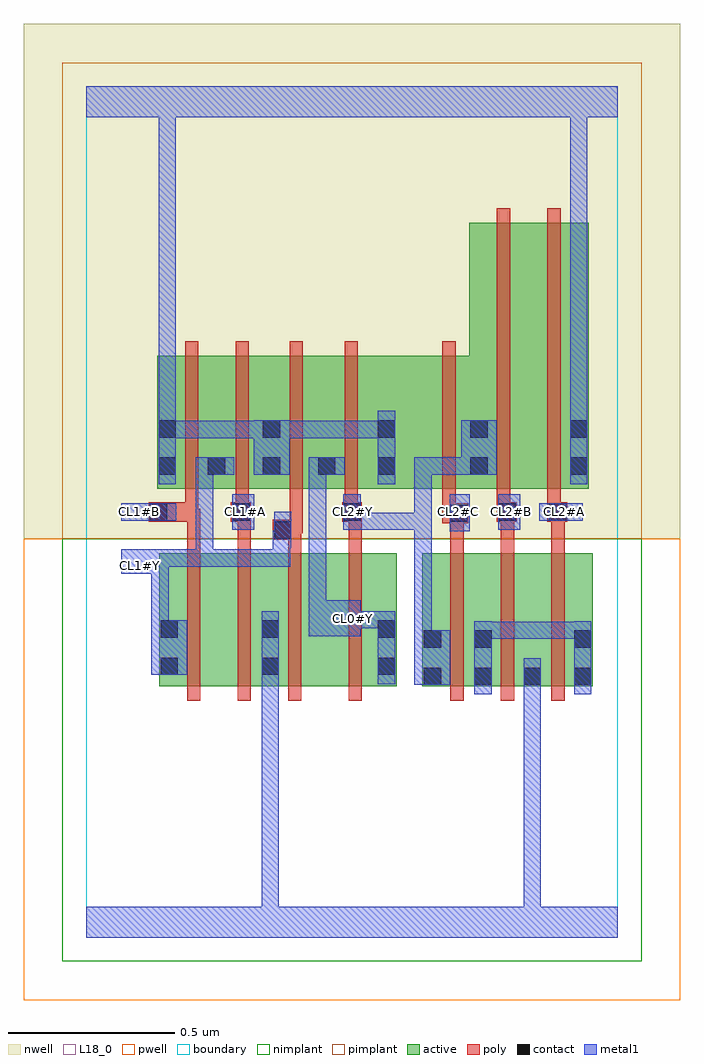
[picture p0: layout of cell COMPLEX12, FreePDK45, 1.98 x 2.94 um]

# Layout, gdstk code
import gdstk
lib = gdstk.Library(unit=1e-6, precision=1e-09)
def R(c, l, rs):  # rectangles x0, y0, x1, y1
    for r in rs: c.add(gdstk.rectangle(r[:2], r[2:], *l))
def A(c, l, x, y, w, h, nx, ny, dx, dy):  # array of equal rectangles
    R(c, l, [(x+i*dx, y+j*dy, x+i*dx+w, y+j*dy+h) for i in range(nx) for j in range(ny)])
active = (1, 0)
pwell = (2, 0)
nwell = (3, 0)
nimplant = (4, 0)
pimplant = (5, 0)
poly = (9, 0)
contact = (10, 0)
metal1 = (11, 0)
L18_0 = (18, 0)
boundary = (235, 0)

complex12 = lib.new_cell('COMPLEX12')
A(complex12, active, 0.362, 1.35, 0.06, 0.294, 3, 1, 0.166, 0)
R(complex12, active, [(0.22,0.756,0.28,1.156), (0.22,0.756,0.4,1.156), (0.4,0.756,0.584,1.156), (0.524,0.756,0.584,1.156), (0.524,0.756,0.704,1.156), (0.704,0.756,0.934,1.156), (0.874,0.756,0.934,1.156), (1.012,0.756,1.072,1.156), (1.012,0.756,1.224,1.156), (1.164,0.756,1.224,1.156), (1.164,0.756,1.372,1.156), (1.312,0.756,1.372,1.156), (1.312,0.756,1.524,1.156), (1.464,0.756,1.524,1.156), (0.214,1.35,0.422,1.75), (0.214,1.35,0.274,1.644), (0.362,1.35,0.588,1.75), (0.528,1.35,0.754,1.75), (0.694,1.35,0.934,1.75), (0.874,1.35,1.212,1.75), (0.874,1.35,0.934,1.644), (1.152,1.35,1.332,2.15), (1.152,1.35,1.212,1.858), (1.332,1.35,1.512,2.15), (1.452,1.35,1.512,2.044)])
R(complex12, pwell, [(-0.188,-0.188,1.788,1.2)])
R(complex12, nwell, [(-0.188,1.2,1.788,2.748)])
R(complex12, nimplant, [(-0.072,-0.072,1.672,1.2)])
R(complex12, pimplant, [(-0.072,1.2,1.672,2.632)])
A(complex12, poly, 0.304, 0.712, 0.04, 0.488, 3, 1, 0.152, 0)
A(complex12, poly, 1.096, 0.712, 0.04, 0.488, 3, 1, 0.152, 0)
R(complex12, poly, [(0.79,0.712,0.83,1.2), (0.304,1.16,0.344,1.29), (0.456,1.16,0.496,1.29), (0.608,1.16,0.648,1.236), (0.79,1.16,0.83,1.29), (1.096,1.16,1.136,1.286), (1.248,1.16,1.288,1.29), (1.4,1.16,1.44,1.29), (0.562,1.196,0.648,1.256), (0.608,1.216,0.648,1.256), (0.608,1.216,0.652,1.256), (0.612,1.216,0.652,1.346), (1.072,1.246,1.15,1.306), (1.096,1.246,1.136,1.286), (1.096,1.246,1.136,1.286), (0.188,1.25,0.338,1.31), (0.298,1.25,0.338,1.29), (0.298,1.25,0.344,1.29), (0.436,1.25,0.496,1.31), (0.456,1.25,0.496,1.29), (0.456,1.25,0.496,1.29), (0.77,1.25,0.83,1.31), (0.79,1.25,0.83,1.29), (0.79,1.25,0.83,1.29), (1.236,1.25,1.296,1.31), (1.248,1.25,1.288,1.29), (1.248,1.25,1.288,1.29), (1.388,1.25,1.448,1.31), (1.4,1.25,1.44,1.29), (1.4,1.25,1.44,1.29), (1.072,1.266,1.112,1.346), (0.298,1.27,0.338,1.346), (0.45,1.27,0.49,1.346), (0.778,1.27,0.818,1.346), (1.236,1.27,1.276,1.346), (1.388,1.27,1.428,1.346), (0.298,1.306,0.338,1.794), (0.45,1.306,0.49,1.794), (0.612,1.306,0.652,1.794), (0.778,1.306,0.818,1.794), (1.072,1.306,1.112,1.794), (1.236,1.306,1.276,2.194), (1.388,1.306,1.428,2.194)])
A(complex12, contact, 0.366, 1.392, 0.052, 0.052, 3, 1, 0.166, 0)
R(complex12, contact, [(1.016,0.76,1.068,0.812), (1.168,0.76,1.22,0.812), (1.316,0.76,1.368,0.812), (1.468,0.76,1.52,0.812), (0.224,0.79,0.276,0.842), (0.528,0.79,0.58,0.842), (0.878,0.79,0.93,0.842), (1.016,0.872,1.068,0.924), (1.168,0.872,1.22,0.924), (1.468,0.872,1.52,0.924), (0.224,0.902,0.276,0.954), (0.528,0.902,0.58,0.954), (0.878,0.902,0.93,0.954), (0.566,1.2,0.618,1.252), (1.094,1.25,1.146,1.302), (0.192,1.254,0.244,1.306), (0.44,1.254,0.492,1.306), (0.774,1.254,0.826,1.306), (1.24,1.254,1.292,1.306), (1.392,1.254,1.444,1.306), (0.218,1.392,0.27,1.444), (0.878,1.392,0.93,1.444), (1.156,1.392,1.208,1.444), (1.456,1.392,1.508,1.444), (0.218,1.504,0.27,1.556), (0.532,1.504,0.584,1.556), (0.878,1.504,0.93,1.556), (1.156,1.504,1.208,1.556), (1.456,1.504,1.508,1.556)])
R(complex12, metal1, [(0,0,1.6,0.092), (0.528,0.04,0.58,0.814), (1.316,0.04,1.368,0.784), (1.168,0.732,1.22,0.952), (1.316,0.732,1.368,0.784), (1.316,0.732,1.368,0.784), (1.316,0.732,1.368,0.784), (1.316,0.732,1.368,0.784), (1.316,0.732,1.368,0.784), (1.316,0.732,1.368,0.784), (1.316,0.732,1.368,0.784), (1.316,0.732,1.368,0.784), (1.316,0.732,1.368,0.784), (1.316,0.732,1.368,0.784), (1.316,0.732,1.368,0.784), (1.316,0.732,1.368,0.784), (1.316,0.732,1.368,0.84), (1.468,0.732,1.52,0.952), (0.988,0.76,1.096,0.924), (0.528,0.762,0.58,0.814), (0.528,0.762,0.58,0.814), (0.528,0.762,0.58,0.814), (0.528,0.762,0.58,0.814), (0.528,0.762,0.58,0.814), (0.528,0.762,0.58,0.814), (0.528,0.762,0.58,0.814), (0.528,0.762,0.58,0.814), (0.528,0.762,0.58,0.814), (0.528,0.762,0.58,0.814), (0.528,0.762,0.58,0.814), (0.528,0.762,0.58,0.814), (0.528,0.762,0.58,0.982), (0.878,0.762,0.93,0.982), (0.196,0.79,0.304,0.954), (0.988,0.872,1.04,0.924), (0.988,0.872,1.04,0.924), (0.988,0.872,1.04,1.278), (1.168,0.898,1.22,0.95), (1.168,0.898,1.22,0.95), (1.168,0.898,1.33,0.95), (1.278,0.898,1.33,0.95), (1.278,0.898,1.52,0.95), (1.468,0.898,1.52,0.95), (1.468,0.898,1.52,0.95), (0.196,0.902,0.248,1.146), (0.67,0.906,0.826,1.014), (0.774,0.93,0.93,0.982), (0.878,0.93,0.93,0.982), (0.878,0.93,0.93,0.982), (0.878,0.93,0.93,0.982), (0.878,0.93,0.93,0.982), (0.67,0.962,0.722,1.444), (0.106,1.094,0.248,1.168), (0.196,1.116,0.248,1.168), (0.196,1.116,0.248,1.168), (0.196,1.116,0.382,1.168), (0.33,1.116,0.382,1.168), (0.33,1.116,0.382,1.168), (0.33,1.116,0.382,1.168), (0.33,1.116,0.382,1.168), (0.33,1.116,0.382,1.168), (0.33,1.116,0.614,1.168), (0.33,1.116,0.382,1.444), (0.562,1.116,0.614,1.224), (0.562,1.172,0.618,1.224), (0.566,1.172,0.618,1.28), (1.094,1.222,1.154,1.334), (0.44,1.226,0.506,1.334), (0.774,1.226,0.936,1.278), (0.774,1.226,0.826,1.334), (0.884,1.226,0.936,1.278), (0.884,1.226,1.04,1.278), (0.988,1.226,1.04,1.278), (0.988,1.226,1.04,1.444), (1.24,1.226,1.306,1.334), (0.106,1.254,0.272,1.306), (1.364,1.254,1.494,1.306), (0.218,1.364,0.27,1.584), (0.878,1.364,0.93,1.584), (1.456,1.364,1.508,1.584), (0.33,1.392,0.446,1.444), (0.504,1.392,0.612,1.556), (0.67,1.392,0.722,1.444), (0.67,1.392,0.722,1.444), (0.67,1.392,0.778,1.444), (0.988,1.392,1.046,1.444), (0.994,1.392,1.046,1.444), (0.994,1.392,1.046,1.444), (0.994,1.392,1.18,1.444), (1.128,1.392,1.236,1.556), (0.218,1.502,0.27,1.554), (0.218,1.502,0.27,1.554), (0.218,1.502,0.446,1.554), (0.394,1.502,0.446,1.554), (0.394,1.502,0.446,1.554), (0.394,1.502,0.446,1.554), (0.394,1.502,0.556,1.554), (0.56,1.502,0.612,1.554), (0.56,1.502,0.612,1.554), (0.56,1.502,0.82,1.554), (0.768,1.502,0.82,1.554), (0.768,1.502,0.82,1.554), (0.768,1.502,0.82,1.554), (0.768,1.502,0.93,1.554), (0.218,1.532,0.27,1.584), (0.218,1.532,0.27,1.584), (0.218,1.532,0.27,1.584), (0.218,1.532,0.27,1.584), (0.218,1.532,0.27,1.584), (0.218,1.532,0.27,1.584), (0.218,1.532,0.27,1.584), (0.218,1.532,0.27,1.584), (0.218,1.532,0.27,1.584), (0.218,1.532,0.27,1.584), (0.218,1.532,0.27,1.584), (0.218,1.532,0.27,1.584), (0.218,1.532,0.27,1.584), (0.218,1.532,0.27,1.584), (0.218,1.532,0.27,1.584), (0.218,1.532,0.27,1.584), (0.218,1.532,0.27,2.52), (1.456,1.532,1.508,1.584), (1.456,1.532,1.508,1.584), (1.456,1.532,1.508,1.584), (1.456,1.532,1.508,1.584), (1.456,1.532,1.508,1.584), (1.456,1.532,1.508,1.584), (1.456,1.532,1.508,1.584), (1.456,1.532,1.508,1.584), (1.456,1.532,1.508,2.52), (0,2.468,1.6,2.56)])
A(complex12, L18_0, 0.134, 1.254, 0.052, 0.052, 4, 1, 0.32, 0)
R(complex12, L18_0, [(0,0,1.6,0.092), (0.528,0.04,0.58,0.814), (1.316,0.04,1.368,0.784), (1.316,0.732,1.368,0.784), (1.316,0.732,1.368,0.784), (1.316,0.732,1.368,0.784), (1.316,0.732,1.368,0.784), (1.316,0.732,1.368,0.784), (1.316,0.732,1.368,0.784), (1.316,0.732,1.368,0.784), (1.316,0.732,1.368,0.784), (1.316,0.732,1.368,0.784), (1.316,0.732,1.368,0.784), (1.316,0.732,1.368,0.784), (1.316,0.732,1.368,0.784), (1.316,0.732,1.368,0.84), (0.988,0.76,1.096,0.924), (0.528,0.762,0.58,0.982), (0.528,0.762,0.58,0.814), (0.528,0.762,0.58,0.814), (0.528,0.762,0.58,0.814), (0.528,0.762,0.58,0.814), (0.528,0.762,0.58,0.814), (0.528,0.762,0.58,0.814), (0.528,0.762,0.58,0.814), (0.528,0.762,0.58,0.814), (0.528,0.762,0.58,0.814), (0.528,0.762,0.58,0.814), (0.528,0.762,0.58,0.814), (0.528,0.762,0.58,0.814), (0.878,0.762,0.93,0.982), (0.196,0.79,0.304,0.954), (0.988,0.872,1.04,0.924), (0.988,0.872,1.04,0.924), (0.988,0.872,1.04,1.278), (0.196,0.902,0.248,1.146), (0.67,0.906,0.826,1.014), (0.774,0.93,0.93,0.982), (0.878,0.93,0.93,0.982), (0.878,0.93,0.93,0.982), (0.878,0.93,0.93,0.982), (0.878,0.93,0.93,0.982), (0.774,0.934,0.826,0.986), (0.67,0.962,0.722,1.444), (0.106,1.094,0.248,1.168), (0.134,1.094,0.186,1.146), (0.196,1.116,0.248,1.168), (0.196,1.116,0.248,1.168), (0.196,1.116,0.382,1.168), (0.33,1.116,0.382,1.168), (0.33,1.116,0.382,1.168), (0.33,1.116,0.382,1.168), (0.33,1.116,0.382,1.168), (0.33,1.116,0.382,1.168), (0.33,1.116,0.382,1.444), (0.33,1.116,0.614,1.168), (0.562,1.116,0.614,1.224), (0.562,1.172,0.618,1.224), (0.566,1.172,0.618,1.28), (1.094,1.222,1.154,1.334), (0.44,1.226,0.506,1.334), (0.774,1.226,0.826,1.334), (0.774,1.226,0.936,1.278), (0.884,1.226,0.936,1.278), (0.884,1.226,1.04,1.278), (0.988,1.226,1.04,1.278), (0.988,1.226,1.04,1.444), (1.24,1.226,1.306,1.334), (0.106,1.254,0.272,1.306), (1.254,1.254,1.306,1.306), (1.364,1.254,1.494,1.306), (1.414,1.254,1.466,1.306), (0.218,1.364,0.27,1.584), (0.878,1.364,0.93,1.584), (1.456,1.364,1.508,1.584), (0.33,1.392,0.446,1.444), (0.504,1.392,0.612,1.556), (0.67,1.392,0.722,1.444), (0.67,1.392,0.722,1.444), (0.67,1.392,0.778,1.444), (0.988,1.392,1.046,1.444), (0.994,1.392,1.046,1.444), (0.994,1.392,1.046,1.444), (0.994,1.392,1.18,1.444), (1.128,1.392,1.236,1.556), (0.218,1.502,0.27,1.554), (0.218,1.502,0.27,1.554), (0.218,1.502,0.446,1.554), (0.394,1.502,0.446,1.554), (0.394,1.502,0.446,1.554), (0.394,1.502,0.446,1.554), (0.394,1.502,0.556,1.554), (0.56,1.502,0.612,1.554), (0.56,1.502,0.612,1.554), (0.56,1.502,0.82,1.554), (0.768,1.502,0.82,1.554), (0.768,1.502,0.82,1.554), (0.768,1.502,0.82,1.554), (0.768,1.502,0.93,1.554), (0.218,1.532,0.27,1.584), (0.218,1.532,0.27,1.584), (0.218,1.532,0.27,1.584), (0.218,1.532,0.27,1.584), (0.218,1.532,0.27,1.584), (0.218,1.532,0.27,1.584), (0.218,1.532,0.27,1.584), (0.218,1.532,0.27,1.584), (0.218,1.532,0.27,1.584), (0.218,1.532,0.27,1.584), (0.218,1.532,0.27,1.584), (0.218,1.532,0.27,1.584), (0.218,1.532,0.27,1.584), (0.218,1.532,0.27,1.584), (0.218,1.532,0.27,1.584), (0.218,1.532,0.27,1.584), (0.218,1.532,0.27,2.52), (1.456,1.532,1.508,1.584), (1.456,1.532,1.508,1.584), (1.456,1.532,1.508,1.584), (1.456,1.532,1.508,1.584), (1.456,1.532,1.508,1.584), (1.456,1.532,1.508,1.584), (1.456,1.532,1.508,1.584), (1.456,1.532,1.508,1.584), (1.456,1.532,1.508,2.52), (0,2.468,1.6,2.56)])
R(complex12, boundary, [(0,0,1.6,2.56)])
complex12.add(gdstk.Label('CL0#Y', (0.8,0.96), layer=11, texttype=0))
complex12.add(gdstk.Label('CL1#A', (0.48,1.28), layer=11, texttype=0))
complex12.add(gdstk.Label('CL1#B', (0.16,1.28), layer=11, texttype=0))
complex12.add(gdstk.Label('CL1#Y', (0.16,1.12), layer=11, texttype=0))
complex12.add(gdstk.Label('CL2#A', (1.44,1.28), layer=11, texttype=0))
complex12.add(gdstk.Label('CL2#B', (1.28,1.28), layer=11, texttype=0))
complex12.add(gdstk.Label('CL2#C', (1.12,1.28), layer=11, texttype=0))
complex12.add(gdstk.Label('CL2#Y', (0.8,1.28), layer=11, texttype=0))

lib.write_gds('COMPLEX12.gds')
